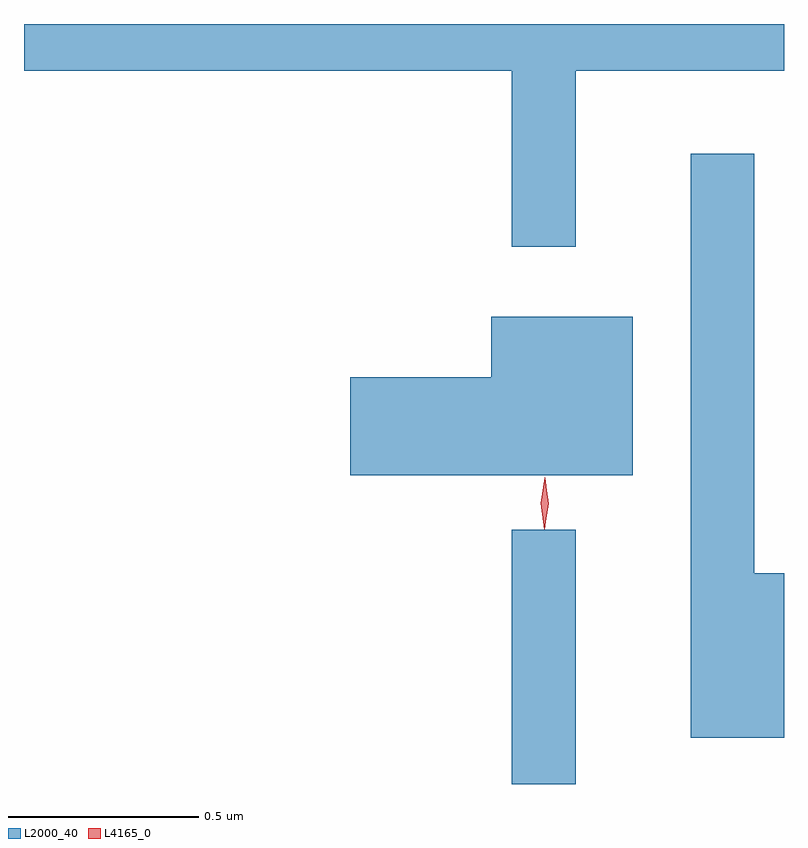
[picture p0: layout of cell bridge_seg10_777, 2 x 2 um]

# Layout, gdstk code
import gdstk
lib = gdstk.Library(unit=1e-6, precision=1e-09)
def R(c, l, rs):  # rectangles x0, y0, x1, y1
    for r in rs: c.add(gdstk.rectangle(r[:2], r[2:], *l))
def P(c, l, *ps):  # polygons
    for p in ps: c.add(gdstk.Polygon(p, *l))
L2000_40 = (2000, 40)
L4165_0 = (4165, 0)

bridge_seg10_777 = lib.new_cell('bridge_seg10_777')
R(bridge_seg10_777, L2000_40, [(545.391,2176.419,545.559,2177.088)])
P(bridge_seg10_777, L2000_40, [(545.559,2178.296),(546.107,2178.296),(546.107,2178.419),(544.107,2178.419),(544.107,2178.296),(545.391,2178.296),(545.391,2177.833),(545.559,2177.833)],
  [(546.107,2176.974),(546.029,2176.974),(546.029,2178.078),(545.861,2178.078),(545.861,2176.541),(546.107,2176.541)],
  [(545.709,2177.649),(545.336,2177.649),(545.336,2177.489),(544.966,2177.489),(544.966,2177.231),(545.709,2177.231)])
P(bridge_seg10_777, L4165_0, [(545.476,2177.09),(545.467,2177.158),(545.478,2177.225),(545.478,2177.226),(545.479,2177.225),(545.487,2177.158),(545.477,2177.09),(545.477,2177.09)],
  [(545.476,2177.093),(545.468,2177.156),(545.478,2177.219),(545.479,2177.22),(545.479,2177.219),(545.488,2177.156),(545.477,2177.093),(545.477,2177.093)])

lib.write_gds('bridge_seg10_777.gds')
